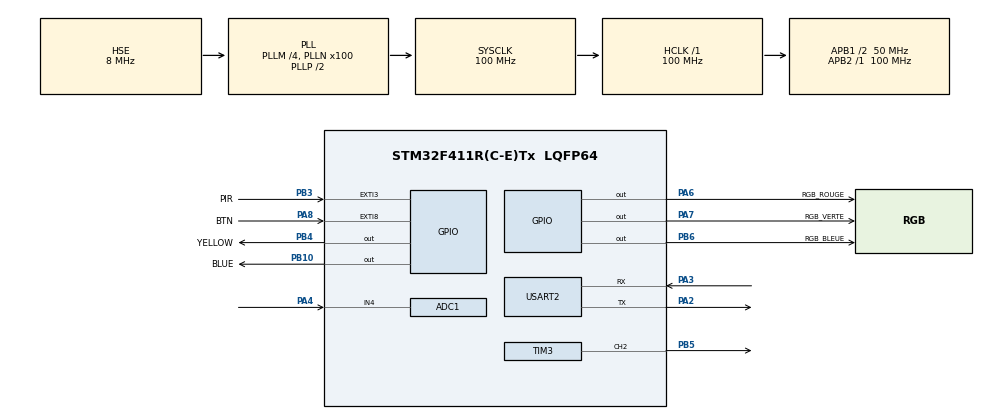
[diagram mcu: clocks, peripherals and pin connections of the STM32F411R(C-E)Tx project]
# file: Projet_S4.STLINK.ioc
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ADC1.Channel-0\#ChannelRegularConversion=ADC_CHANNEL_4
ADC1.ExternalTrigConv=ADC_EXTERNALTRIGCONV_T2_TRGO
ADC1.NbrOfConversionFlag=1
ADC1.Rank-0\#ChannelRegularConversion=1
ADC1.SamplingTime-0\#ChannelRegularConversion=ADC_SAMPLETIME_480CYCLES
ADC1.master=1
Mcu.Family=STM32F4
Mcu.Name=STM32F411R(C-E)Tx
Mcu.Package=LQFP64
NVIC.EXTI3_IRQn=true\:0\:0\:false\:false\:true\:true\:true\:true
NVIC.EXTI9_5_IRQn=true\:0\:0\:false\:false\:true\:true\:true\:true
NVIC.PriorityGroup=NVIC_PRIORITYGROUP_4
NVIC.TIM2_IRQn=true\:0\:0\:false\:false\:true\:true\:true\:true
NVIC.TIM5_IRQn=true\:0\:0\:false\:false\:true\:true\:true\:true
PA13.Mode=Serial_Wire
PA13.Signal=SYS_JTMS-SWDIO
PA14.Mode=Serial_Wire
PA14.Signal=SYS_JTCK-SWCLK
PA2.Mode=Asynchronous
PA2.Signal=USART2_TX
PA3.Mode=Asynchronous
PA3.Signal=USART2_RX
PA4.Signal=ADCx_IN4
PA6.GPIO_Label=RGB_ROUGE
PA6.GPIO_PuPd=GPIO_PULLDOWN
PA6.Signal=GPIO_Output
PA7.GPIO_Label=RGB_VERTE
PA7.GPIO_PuPd=GPIO_PULLDOWN
PA7.Signal=GPIO_Output
PA8.GPIO_Label=BTN
PA8.GPIO_ModeDefaultEXTI=GPIO_MODE_IT_FALLING
PA8.GPIO_PuPd=GPIO_PULLDOWN
PA8.Signal=GPXTI8
PB10.GPIO_Label=BLUE
PB10.Signal=GPIO_Output
PB3.GPIO_Label=PIR
PB3.GPIO_ModeDefaultEXTI=GPIO_MODE_IT_RISING
PB3.GPIO_PuPd=GPIO_PULLDOWN
PB3.Signal=GPXTI3
PB4.GPIO_Label=YELLOW
PB4.GPIO_PuPd=GPIO_PULLDOWN
PB4.Signal=GPIO_Output
PB5.Signal=S_TIM3_CH2
PB6.GPIO_Label=RGB_BLEUE
PB6.GPIO_PuPd=GPIO_PULLDOWN
PB6.Signal=GPIO_Output
PH0\ -\ OSC_IN.Mode=HSE-External-Oscillator
PH0\ -\ OSC_IN.Signal=RCC_OSC_IN
PH1\ -\ OSC_OUT.Mode=HSE-External-Oscillator
PH1\ -\ OSC_OUT.Signal=RCC_OSC_OUT
ProjectManager.HeapSize=0x200
ProjectManager.StackSize=0x400
ProjectManager.TargetToolchain=STM32CubeIDE
RCC.48MHZClocksFreq_Value=50000000
RCC.AHBFreq_Value=100000000
RCC.APB1CLKDivider=RCC_HCLK_DIV2
RCC.APB1Freq_Value=50000000
RCC.APB1TimFreq_Value=100000000
RCC.APB2Freq_Value=100000000
RCC.APB2TimFreq_Value=100000000
RCC.CortexFreq_Value=100000000
RCC.HCLKFreq_Value=100000000
RCC.HSE_VALUE=8000000
RCC.HSI_VALUE=16000000
RCC.LSE_VALUE=32768
RCC.PLLM=4
RCC.PLLN=100
RCC.PLLSourceVirtual=RCC_PLLSOURCE_HSE
RCC.SYSCLKFreq_VALUE=100000000
RCC.SYSCLKSource=RCC_SYSCLKSOURCE_PLLCLK
RCC.VCOOutputFreq_Value=200000000
SH.ADCx_IN4.0=ADC1_IN4,IN4
SH.S_TIM3_CH2.0=TIM3_CH2,PWM Generation2 CH2
TIM2.Period=20000-1
TIM2.Prescaler=10000-1
TIM2.TIM_MasterOutputTrigger=TIM_TRGO_UPDATE
TIM3.Channel-PWM\ Generation2\ CH2=TIM_CHANNEL_2
TIM3.Period=22728
TIM3.Prescaler=10-1
TIM3.Pulse-PWM\ Generation2\ CH2=11364-1
TIM5.Period=500-1
TIM5.Prescaler=10000-1
USART2.VirtualMode=VM_ASYNC
VP_TIM2_VS_ClockSourceINT.Mode=Internal
VP_TIM3_VS_ClockSourceINT.Mode=Internal
VP_TIM5_VS_ClockSourceINT.Mode=Internal
board=custom

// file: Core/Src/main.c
/* USER CODE BEGIN Header */
/**
  ******************************************************************************
  * @file           : main.c
  * @brief          : Main program body
  ******************************************************************************
  * @attention
  *
  * Copyright (c) 2026 STMicroelectronics.
  * All rights reserved.
  *
  * This software is licensed under terms that can be found in the LICENSE file
  * in the root directory of this software component.
  * If no LICENSE file comes with this software, it is provided AS-IS.
  *
  ******************************************************************************
  */
/* USER CODE END Header */
#include "main.h"
#include "adc.h"
#include "tim.h"
#include "usart.h"
#include "gpio.h"

/* USER CODE BEGIN Includes */
#include "stdbool.h"
#include <string.h>
#include <stdio.h>
/* USER CODE END Includes */

/* USER CODE BEGIN PD */
#define HOME true
#define AWAY false

#define FREQ_TIM5 20
#define FREQ_TIM2 0.5
#define FREQ_BLINK_ALARM_GAZ 4
#define FREQ_BLINK_ALARM_INTRUSION 2
#define SEUIL_GAZ 3000
/* USER CODE END PD */

/* USER CODE BEGIN PV */
volatile bool mode = HOME;
volatile bool buzzer = false;
volatile bool falling_edge_detected = false;
volatile bool presence_detectee = false;
volatile bool alarme_gaz = false;
volatile bool alarme_intrusion = false;
volatile bool bouton_appuye = false;
volatile int blink_counter_alarm_gaz = 0;
volatile int blink_counter_alarm_intrusion = 0;
volatile int gaz_value = 0;

/* USER CODE END PV */

void SystemClock_Config(void);

int main(void)
{

  /* MCU Configuration--------------------------------------------------------*/

  /* Reset of all peripherals, Initializes the Flash interface and the Systick. */
  HAL_Init();

  /* Configure the system clock */
  SystemClock_Config();

  /* Initialize all configured peripherals */
  MX_GPIO_Init();
  MX_TIM2_Init();
  MX_TIM3_Init();
  MX_TIM5_Init();
  MX_ADC1_Init();
  MX_USART2_UART_Init();
  /* USER CODE BEGIN 2 */
  HAL_TIM_Base_Start_IT(&htim5);
  HAL_TIM_Base_Start_IT(&htim2);
  HAL_TIM_PWM_Start(&htim3, TIM_CHANNEL_2);
  HAL_ADC_Start(&hadc1);

  printf("\r\n--- Demarrage Systeme STM32 ---\r\n\n");
  printf("Seuil gaz configure: %d\r\n", SEUIL_GAZ);
  printf("Frequence clignotement alarme gaz: %d Hz\r\n", FREQ_BLINK_ALARM_GAZ);
  printf("Frequence clignotement alarme intrusion: %d Hz\r\n", FREQ_BLINK_ALARM_INTRUSION);
  printf("Periode echantillonnage capteurs: %d s\r\n", (int)(1/FREQ_TIM2));
  printf("Periode debounce bouton: %d s\r\n", (int)(1/FREQ_TIM5));
  printf("\r\n");

  /* USER CODE END 2 */

  /* Infinite loop */
  while (1)
  {

    /* USER CODE BEGIN 3 */

	// Machine à état avec HOME et AWAY
	if (mode == HOME) {
		if(bouton_appuye) {
			bouton_appuye = false;
			mode = AWAY;
      printf("Je sors de la maison\r\n");
		}
	}
	if ( mode == AWAY) {
		if(bouton_appuye) {
			bouton_appuye = false;
			mode = HOME;
			alarme_intrusion = false;
			buzzer = false;
			HAL_GPIO_WritePin(YELLOW_GPIO_Port, YELLOW_Pin, 0);
			printf("Je rentre à la maison\r\n");
		}
		if (presence_detectee) {
			alarme_intrusion = true;
			presence_detectee = false;
      printf("Intrusion detectee !\r\n");
		}
	}

	if (buzzer) {
		HAL_TIM_PWM_Start(&htim3, TIM_CHANNEL_2);
	} else {
		HAL_TIM_PWM_Stop(&htim3, TIM_CHANNEL_2);
	}
  }

  /* USER CODE END 3 */
}

void SystemClock_Config(void)
{
  RCC_OscInitTypeDef RCC_OscInitStruct = {0};
  RCC_ClkInitTypeDef RCC_ClkInitStruct = {0};

  /** Configure the main internal regulator output voltage
  */
  __HAL_RCC_PWR_CLK_ENABLE();
  __HAL_PWR_VOLTAGESCALING_CONFIG(PWR_REGULATOR_VOLTAGE_SCALE1);

  /** Initializes the RCC Oscillators according to the specified parameters
  * in the RCC_OscInitTypeDef structure.
  */
  RCC_OscInitStruct.OscillatorType = RCC_OSCILLATORTYPE_HSE;
  RCC_OscInitStruct.HSEState = RCC_HSE_ON;
  RCC_OscInitStruct.PLL.PLLState = RCC_PLL_ON;
  RCC_OscInitStruct.PLL.PLLSource = RCC_PLLSOURCE_HSE;
  RCC_OscInitStruct.PLL.PLLM = 4;
  RCC_OscInitStruct.PLL.PLLN = 100;
  RCC_OscInitStruct.PLL.PLLP = RCC_PLLP_DIV2;
  RCC_OscInitStruct.PLL.PLLQ = 4;
  if (HAL_RCC_OscConfig(&RCC_OscInitStruct) != HAL_OK)
  {
    Error_Handler();
  }

  /** Initializes the CPU, AHB and APB buses clocks
  */
  RCC_ClkInitStruct.ClockType = RCC_CLOCKTYPE_HCLK|RCC_CLOCKTYPE_SYSCLK
                              |RCC_CLOCKTYPE_PCLK1|RCC_CLOCKTYPE_PCLK2;
  RCC_ClkInitStruct.SYSCLKSource = RCC_SYSCLKSOURCE_PLLCLK;
  RCC_ClkInitStruct.AHBCLKDivider = RCC_SYSCLK_DIV1;
  RCC_ClkInitStruct.APB1CLKDivider = RCC_HCLK_DIV2;
  RCC_ClkInitStruct.APB2CLKDivider = RCC_HCLK_DIV1;

  if (HAL_RCC_ClockConfig(&RCC_ClkInitStruct, FLASH_LATENCY_3) != HAL_OK)
  {
    Error_Handler();
  }
}

/* USER CODE BEGIN 4 */

// Redirection du printf vers USART2
int __io_putchar(int ch) {
    HAL_UART_Transmit(&huart2, (uint8_t *)&ch, 1, HAL_MAX_DELAY);
    return ch;
}

void debounce_filter() {
	if (falling_edge_detected && !HAL_GPIO_ReadPin(BTN_GPIO_Port, BTN_Pin)) {
		bouton_appuye = true;
		falling_edge_detected = false;
	}
}

void update_cycle_alarme_intrusion() {
	if (alarme_intrusion == true) {
		blink_counter_alarm_intrusion ++;
		if (blink_counter_alarm_intrusion == FREQ_TIM5/(2*FREQ_BLINK_ALARM_INTRUSION)) {
			HAL_GPIO_TogglePin(YELLOW_GPIO_Port, YELLOW_Pin);
			buzzer = !buzzer;
			blink_counter_alarm_intrusion = 0;
		}
	}
}

void update_cycle_alarme_gaz() {
	if (alarme_gaz == true) {
		blink_counter_alarm_gaz ++;
		if (blink_counter_alarm_gaz == FREQ_TIM5/(2*FREQ_BLINK_ALARM_GAZ)) {
			HAL_GPIO_TogglePin(RGB_ROUGE_GPIO_Port, RGB_ROUGE_Pin);
			buzzer = !buzzer;
			blink_counter_alarm_gaz = 0;
		}
	}
}

void update_mesure_gaz() {
	gaz_value = HAL_ADC_GetValue(&hadc1);
	if (gaz_value >= SEUIL_GAZ) {
    printf("Gaz detecte !\r\n");
		alarme_gaz = true;
	} else {
		alarme_gaz = false;
	}
}
// INterruption des GPIO
void HAL_GPIO_EXTI_Callback(uint16_t GPIO_Pin){
	// Bouton avec Debounce
	if (GPIO_Pin == BTN_Pin)
	{
		if (!falling_edge_detected) {
			falling_edge_detected = true;
			__HAL_TIM_SET_COUNTER(&htim5, 0);
		}
	}
	// PIR mouvement détecté
	if (GPIO_Pin == PIR_Pin)
	{
		if (mode == AWAY){
			presence_detectee = true;
		}
	}
}

void HAL_TIM_PeriodElapsedCallback(TIM_HandleTypeDef *htim)
{
	// TIM 5 -> PER = 50ms pour le debounce et compter des periodes de clignotement du buzzer et de la LED d'alarme
	if (htim->Instance == TIM5)
	{
		debounce_filter();
		update_cycle_alarme_gaz();
		update_cycle_alarme_intrusion();

	}
	// TIM 2 -> PER = 4s pour l'échantillonnage des capteurs
	if (htim->Instance == TIM2)
	{
		HAL_GPIO_TogglePin(BLUE_GPIO_Port, BLUE_Pin);
		update_mesure_gaz();
    printf("                                      VALEURS CAPTEURS: gaz = %d\r\n", gaz_value);
	}
}
/* USER CODE END 4 */

void Error_Handler(void)
{
  __disable_irq();
  while (1)
  {
  }
}
